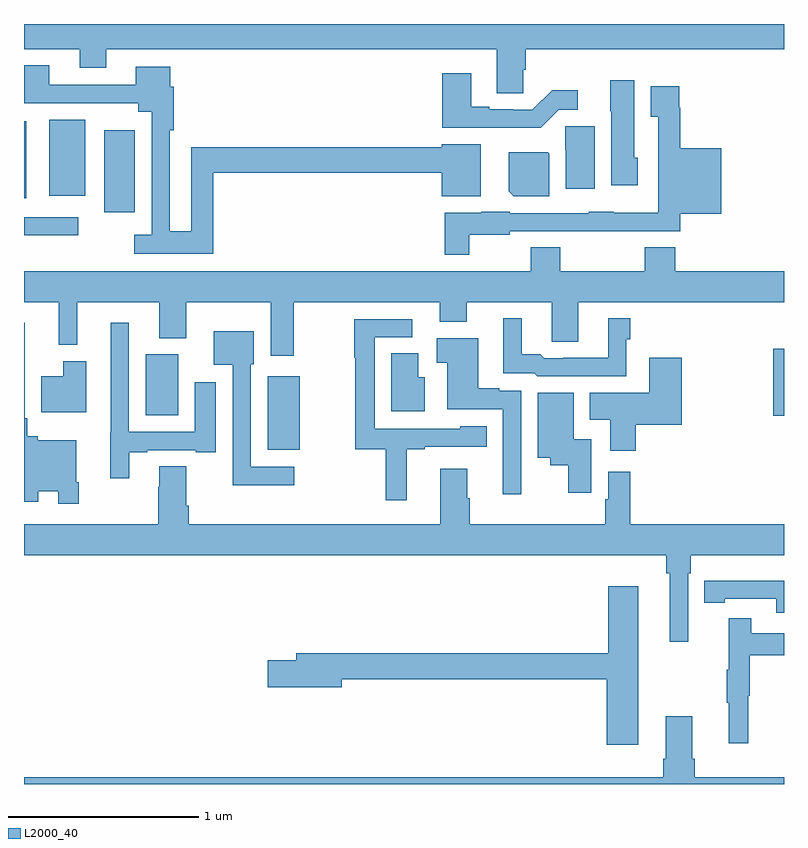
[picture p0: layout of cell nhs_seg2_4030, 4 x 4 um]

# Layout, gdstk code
import gdstk
lib = gdstk.Library(unit=1e-6, precision=1e-09)
def R(c, l, rs):  # rectangles x0, y0, x1, y1
    for r in rs: c.add(gdstk.rectangle(r[:2], r[2:], *l))
def P(c, l, *ps):  # polygons
    for p in ps: c.add(gdstk.Polygon(p, *l))
L2000_40 = (2000, 40)

nhs_seg2_4030 = lib.new_cell('nhs_seg2_4030')
R(nhs_seg2_4030, L2000_40, [(328.283,613.559,328.45,613.945), (330.944,613.739,331,614.092), (327.641,613.742,327.811,614.062), (327,614.688,327.286,614.784), (327.422,614.808,327.583,615.241), (327,614.882,327.013,615.289), (327.134,614.897,327.322,615.295)])
P(nhs_seg2_4030, L2000_40, [(327,615.668),(327.293,615.668),(327.293,615.569),(327.433,615.569),(327.433,615.668),(329.489,615.668),(329.489,615.436),(329.628,615.436),(329.628,615.558),(329.642,615.558),(329.642,615.668),(331,615.668),(331,615.8),(327,615.8)],
  [(327.995,615.016),(329.198,615.016),(329.198,614.894),(329.404,614.894),(329.404,615.166),(329.198,615.166),(329.198,615.152),(327.879,615.152),(327.879,614.708),(327.768,614.708),(327.768,615.242),(327.788,615.242),(327.788,615.47),(327.769,615.47),(327.769,615.574),(327.587,615.574),(327.587,615.48),(327.133,615.48),(327.133,615.583),(327,615.583),(327,615.384),(327.602,615.384),(327.602,615.338),(327.672,615.338),(327.672,614.692),(327.579,614.692),(327.579,614.592),(327.995,614.592)],
  [(329.814,615.348),(329.914,615.348),(329.914,615.451),(329.779,615.451),(329.676,615.348),(329.576,615.348),(329.576,615.351),(329.449,615.351),(329.449,615.364),(329.353,615.364),(329.353,615.541),(329.201,615.541),(329.201,615.254),(329.719,615.254)],
  [(330.229,615.096),(330.211,615.096),(330.211,615.505),(330.086,615.505),(330.086,615.342),(330.092,615.342),(330.092,614.952),(330.229,614.952)],
  [(329.344,614.69),(329.556,614.69),(329.556,614.709),(329.973,614.709),(329.973,614.708),(330.205,614.708),(330.205,614.709),(330.455,614.709),(330.455,614.801),(330.67,614.801),(330.67,615.145),(330.455,615.145),(330.455,615.359),(330.448,615.359),(330.448,615.472),(330.299,615.472),(330.299,615.311),(330.339,615.311),(330.339,614.806),(330.105,614.806),(330.105,614.812),(329.973,614.812),(329.973,614.805),(329.556,614.805),(329.556,614.812),(329.406,614.812),(329.406,614.806),(329.215,614.806),(329.215,614.585),(329.344,614.585)],
  [(330.004,615.261),(329.848,615.261),(329.848,615.138),(329.852,615.138),(329.852,614.934),(330.004,614.934)],
  [(329.764,615.116),(329.756,615.124),(329.552,615.124),(329.552,614.92),(329.578,614.894),(329.764,614.894)],
  [(328.419,614.336),(329.189,614.336),(329.189,614.234),(329.329,614.234),(329.329,614.336),(329.777,614.336),(329.777,614.128),(329.917,614.128),(329.917,614.336),(331,614.336),(331,614.5),(330.428,614.5),(330.428,614.624),(330.268,614.624),(330.268,614.5),(329.823,614.5),(329.823,614.624),(329.668,614.624),(329.668,614.5),(327,614.5),(327,614.336),(327.182,614.336),(327.182,614.111),(327.28,614.111),(327.28,614.336),(327.713,614.336),(327.713,614.147),(327.853,614.147),(327.853,614.336),(328.298,614.336),(328.298,614.055),(328.419,614.055)],
  [(330.171,614.14),(330.191,614.14),(330.191,614.251),(330.074,614.251),(330.074,614.043),(329.839,614.043),(329.839,614.04),(329.739,614.04),(329.717,614.063),(329.62,614.063),(329.62,614.251),(329.522,614.251),(329.522,613.962),(329.685,613.962),(329.7,613.947),(330.171,613.947)],
  [(329.014,613.563),(329.11,613.563),(329.11,613.575),(329.435,613.575),(329.435,613.684),(329.295,613.684),(329.295,613.671),(328.845,613.671),(328.845,614.151),(329.044,614.151),(329.044,614.247),(328.737,614.247),(328.737,614.044),(328.744,614.044),(328.744,613.563),(328.905,613.563),(328.905,613.293),(329.014,613.293)],
  [(327.553,613.545),(327.649,613.545),(327.649,613.557),(327.905,613.557),(327.905,613.545),(328.009,613.545),(328.009,613.915),(327.899,613.915),(327.899,613.653),(327.552,613.653),(327.552,614.227),(327.456,614.227),(327.456,613.65),(327.455,613.65),(327.455,613.41),(327.553,613.41)],
  [(327.289,613.387),(327.276,613.387),(327.276,613.609),(327.072,613.609),(327.072,613.63),(327.016,613.63),(327.016,613.726),(327.003,613.726),(327.003,614.227),(327,614.227),(327,613.286),(327.076,613.286),(327.076,613.34),(327.18,613.34),(327.18,613.275),(327.289,613.275)],
  [(328.423,613.47),(328.194,613.47),(328.194,614.01),(328.21,614.01),(328.21,614.182),(327.998,614.182),(327.998,614.006),(328.098,614.006),(328.098,613.373),(328.423,613.373)],
  [(329.616,613.869),(329.501,613.869),(329.501,613.882),(329.392,613.882),(329.392,614.146),(329.172,614.146),(329.172,614.017),(329.228,614.017),(329.228,613.773),(329.52,613.773),(329.52,613.326),(329.616,613.326)],
  [(329.11,613.942),(329.074,613.942),(329.074,614.066),(328.934,614.066),(328.934,613.763),(329.11,613.763)],
  [(330.221,613.691),(330.461,613.691),(330.461,614.044),(330.29,614.044),(330.29,613.858),(329.978,613.858),(329.978,613.718),(330.086,613.718),(330.086,613.554),(330.221,613.554)],
  [(327.328,614.026),(327.206,614.026),(327.206,613.945),(327.092,613.945),(327.092,613.757),(327.328,613.757)],
  [(329.985,613.615),(329.893,613.615),(329.893,613.858),(329.705,613.858),(329.705,613.517),(329.771,613.517),(329.771,613.478),(329.864,613.478),(329.864,613.332),(329.985,613.332)],
  [(330.495,612.908),(330.509,612.908),(330.509,613.004),(331,613.004),(331,613.168),(330.191,613.168),(330.191,613.444),(330.075,613.444),(330.075,613.298),(330.059,613.298),(330.059,613.168),(329.345,613.168),(329.345,613.305),(329.332,613.305),(329.332,613.459),(329.192,613.459),(329.192,613.168),(327.866,613.168),(327.866,613.264),(327.853,613.264),(327.853,613.472),(327.713,613.472),(327.713,613.364),(327.706,613.364),(327.706,613.168),(327,613.168),(327,613.004),(330.379,613.004),(330.379,612.908),(330.398,612.908),(330.398,612.549),(330.495,612.549)],
  [(331,612.871),(330.688,612.871),(330.688,612.87),(330.58,612.87),(330.58,612.754),(330.688,612.754),(330.688,612.774),(330.96,612.774),(330.96,612.702),(331,612.702)],
  [(330.232,612.841),(330.074,612.841),(330.074,612.488),(328.433,612.488),(328.433,612.452),(328.284,612.452),(328.284,612.31),(328.672,612.31),(328.672,612.352),(330.068,612.352),(330.068,612.006),(330.232,612.006)],
  [(330.812,612.264),(330.82,612.264),(330.82,612.478),(331,612.478),(331,612.594),(330.827,612.594),(330.827,612.673),(330.71,612.673),(330.71,612.401),(330.699,612.401),(330.699,612.227),(330.71,612.227),(330.71,612.015),(330.812,612.015)],
  [(331,611.836),(330.53,611.836),(330.53,611.932),(330.517,611.932),(330.517,612.157),(330.377,612.157),(330.377,611.932),(330.365,611.932),(330.365,611.836),(327,611.836),(327,611.8),(331,611.8)])

lib.write_gds('nhs_seg2_4030.gds')
